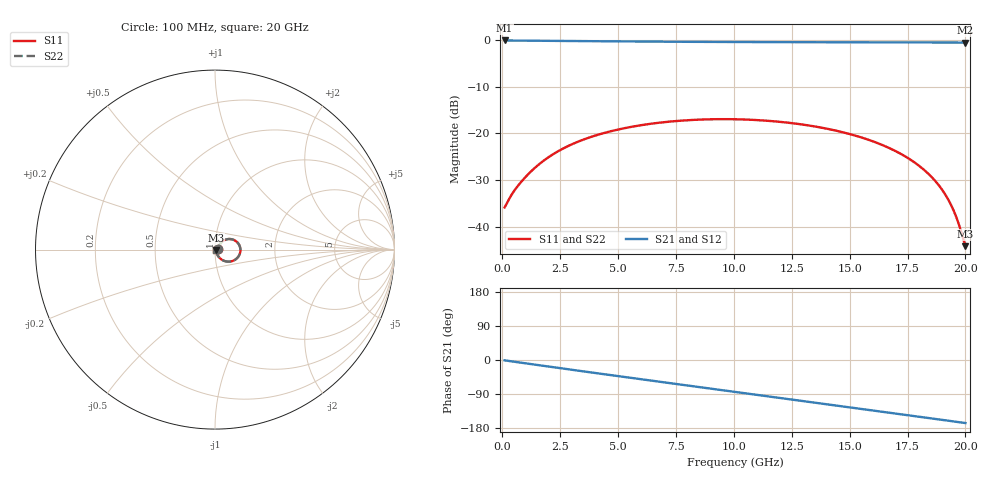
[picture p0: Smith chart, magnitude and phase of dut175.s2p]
! Touchstone file exported from HFSS 2026.1.0
!  File:  C:/ffzhzh/LocalFiles/Ansys_Project_Files/temp_train_TSV_RDL_175_1783055996_46780.aedt
!  Generated:  01:28:02 PM Jul  3, 2026
!  Design:  TSV_RDL
!  Project:  temp_train_TSV_RDL_175_1783055996_46780
! Variables:
!  h_bsmrdl = 3.08um
!  h_ox = 20um
!  h_rdl = 5um
!  h_sub = 55.03um
!  h_tmrdl = 5.9um
!  h_tsv = 55.03um
!  h_via = 3um
!  l_bsmrdl = 308.87um
!  l_sub = 2757um
!  l_tmrdl = 337.55um
!  m_sub = 200um
!  pitch = 22.13um
!  r_tsv = 8.77um
!  s_tmrdl = 10um
!  w_bsmrdl = 12.38um
!  w_sub = 500um
!  w_tmrdl = 14.35um
!  x_tsv_center1 = 344.725um
!  x_tsv_center2 = 665.975um
!  x_tsv_center3 = 1017.875um
!  x_tsv_center4 = 1339.125um
!  x_tsv_center5 = 1691.025um
!  x_tsv_center6 = 2012.275um
# GHz S MA R 50.000000
! Terminal data exported
! Port[1] = TM_RDL1_1_T1
! Port[2] = TM_RDL5_1_T1
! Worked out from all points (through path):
!   200 points, 100 MHz to 20 GHz, reference 50 ohm
!   highest |S21| = -0.14 dB at 100 MHz (marker M1); lowest = -0.6 dB at 20 GHz (marker M2)
!   group delay of S21, straight-line fit = 23 ps
!   lowest |S11| = -44.2 dB at 20 GHz (marker M3), VSWR 1.01, Z = 50.5 - j0.294 ohm
!   |S11| at or under -10 dB: start of sweep to end of sweep
!   |S22| runs from -44.0 to -17.0 dB; largest |S21 - S12| = 4.3e-14
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0.1  0.01612 12.5  0.9843 -0.9  0.9843 -0.9  0.01612 12.5
! Gamma 0 0 0 0
! Port Impedance 50 0 50 0
0.4  0.02198 31.9  0.982 -3.6  0.982 -3.6  0.02198 31.9
0.7  0.02792 40.0  0.9805 -6.2  0.9805 -6.2  0.02792 40.0
1.5  0.04473 48.2  0.9776 -13.0  0.9776 -13.0  0.04473 48.2
2.4  0.06406 47.3  0.9739 -20.7  0.9739 -20.7  0.06406 47.3
3.5  0.08558 41.7  0.9689 -30.0  0.9689 -30.0  0.08559 41.7
5  0.1097 31.7  0.9622 -42.5  0.9622 -42.5  0.1097 31.7
6.8  0.13 18.7  0.9553 -57.4  0.9553 -57.4  0.13 18.6
8.5  0.14 6.0  0.9503 -71.4  0.9503 -71.4  0.14 5.9
10.1  0.1413 -6.1  0.9469 -84.5  0.9469 -84.5  0.1413 -6.2
11.7  0.1346 -18.3  0.9446 -97.6  0.9446 -97.6  0.1346 -18.3
13.4  0.1194 -31.2  0.943 -111.6  0.943 -111.6  0.1194 -31.2
15.2  0.09517 -44.6  0.9416 -126.5  0.9416 -126.5  0.09518 -44.6
16.7  0.06974 -55.3  0.9402 -138.9  0.9402 -138.9  0.06975 -55.3
17.4  0.05662 -59.8  0.9394 -144.7  0.9394 -144.7  0.05663 -59.8
18  0.04491 -63.2  0.9385 -149.7  0.9385 -149.7  0.04492 -63.1
18.5  0.0349 -65.2  0.9378 -153.9  0.9378 -153.9  0.03492 -65.1
18.9  0.02681 -65.8  0.9371 -157.2  0.9371 -157.2  0.02683 -65.6
19.2  0.02074 -64.8  0.9365 -159.7  0.9365 -159.7  0.02077 -64.5
19.5  0.01476 -61.0  0.9359 -162.2  0.9359 -162.2  0.01481 -60.6
19.7  0.01094 -54.8  0.9355 -163.9  0.9355 -163.9  0.01101 -54.1
20  0.006201 -28.0  0.9349 -166.4  0.9349 -166.4  0.006331 -27.2
